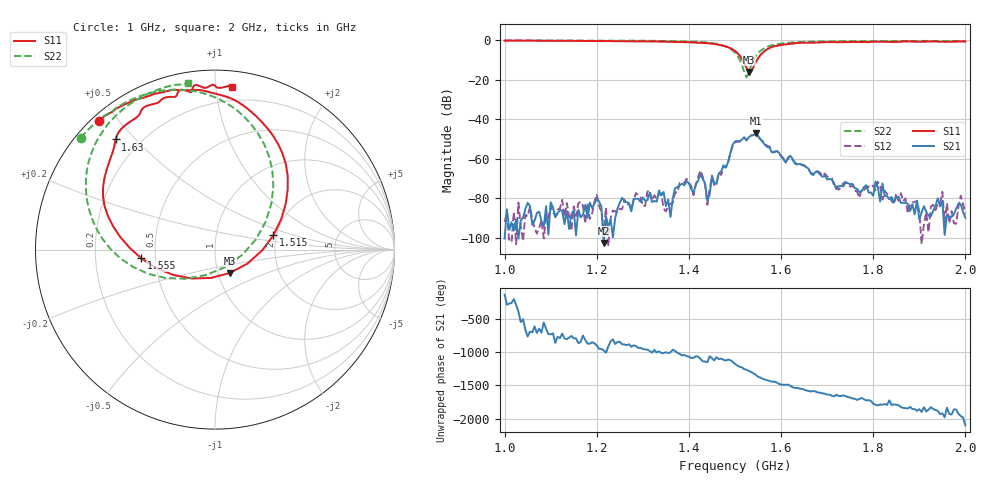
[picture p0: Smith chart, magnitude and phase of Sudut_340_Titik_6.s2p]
# Hz S RI R 50
! CMT, C1220, 16058040, 17.2.0/1
! Date: 14/08/2018 12:25:39
! Data: Format (Calibration Info)
! Freq  S11: Re/Im (F2)  S21: Re/Im (F2)  S12: Re/Im (F2)  S22: Re/Im (F2)
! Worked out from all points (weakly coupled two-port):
!   201 points, 1 GHz to 2 GHz, reference 50 ohm
!   highest |S21| = -47.22 dB at 1.545 GHz (marker M1); lowest = -102.6 dB at 1.215 GHz (marker M2)
!   lowest |S11| = -16.2 dB at 1.53 GHz (marker M3), VSWR 1.37, Z = 57 - j15.2 ohm
!   |S11| at or under -10 dB: 1.516 GHz to 1.548 GHz (31.97 MHz wide, 2.09 % of centre)
!   |S22| runs from -19.0 to -0.2 dB; largest |S21 - S12| = 0.00018
!   S11 on the Smith chart (normalised r, x): 1 GHz: 0.02, +0.44; 1.515 GHz: 1.92, +0.35; 1.555 GHz: 0.42, -0.05; 1.63 GHz: 0.11, +0.44; 2 GHz: 0.10, +1.11
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1e9  -0.647 0.7147  -7.23e-06 -6.32e-06  2.49e-05 3.75e-06  -0.748 0.6238
1.17e9  -0.4726 0.8221  3.22e-05 -2.12e-05  6.17e-05 -2.3e-05  -0.6117 0.7484
1.215e9  -0.4166 0.8416  -1.72e-06 7.23e-06  9.28e-06 1.15e-05  -0.5709 0.7702
1.335e9  -0.2103 0.8892  4.5e-06 0.000157  8.79e-07 0.000123  -0.3966 0.8619
1.395e9  -0.0475 0.8818  0.000261 6.67e-05  0.000293 0.000102  -0.2401 0.8904
1.41e9  0.00863 0.8671  0.000135 -2.23e-05  0.000118 2.35e-05  -0.1838 0.8901
1.425e9  0.0752 0.8477  0.000368 -0.000167  0.000462 -0.000203  -0.1162 0.8825
1.44e9  0.1347 0.8184  2.39e-05 -8.28e-05  1.94e-05 -6.57e-05  -0.0372 0.8627
1.45e9  0.178 0.7875  0.000365 -8.7e-05  0.00032 -9.66e-05  0.0248 0.837
1.46e9  0.2319 0.7404  0.000231 3.03e-06  0.000256 -3.27e-05  0.0929 0.7973
1.5e9  0.4054 0.3381  -0.000437 -0.0027  -0.000439 -0.00252  0.3252 0.3509
1.515e9  0.3256 0.0798  -0.00269 -0.00145  -0.00268 -0.00156  0.2283 0.0573
1.53e9  0.0837 -0.13  -0.00318 0.00144  -0.00323 0.00145  -0.0505 -0.142
1.545e9  -0.2336 -0.1407  -0.000419 0.00433  -0.000462 0.00425  -0.3704 -0.1354
1.555e9  -0.4107 -0.0484  0.00182 0.00248  0.00179 0.00261  -0.5262 -0.0494
1.63e9  -0.5536 0.6138  -0.000133 -0.000738  -8.68e-05 -0.000796  -0.6861 0.5429
1.67e9  -0.4373 0.7364  -0.000325 -0.000208  -0.000371 -0.000215  -0.618 0.6706
1.77e9  -0.2411 0.8507  -1.04e-05 0.000142  2.23e-05 9.97e-05  -0.4622 0.8187
1.815e9  -0.1832 0.8907  8.11e-05 1.57e-05  0.000186 -7.36e-05  -0.3983 0.8565
1.82e9  -0.1722 0.8893  0.000235 3.06e-05  6.09e-05 6.98e-05  -0.3914 0.8595
1.835e9  -0.1402 0.8788  2.94e-05 8.99e-05  0.000118 -5.44e-06  -0.3715 0.8695
2e9  0.0963 0.9087  1.79e-05 2.64e-05  -3.82e-05 -1.39e-05  -0.1492 0.9276
